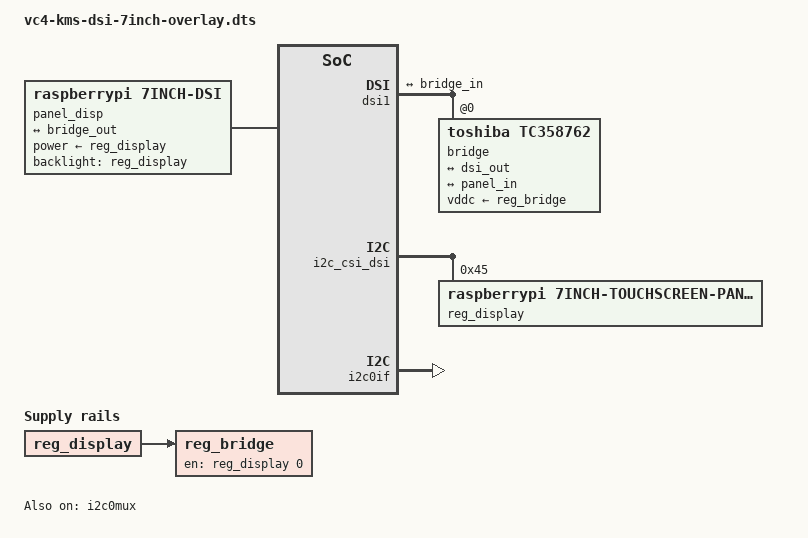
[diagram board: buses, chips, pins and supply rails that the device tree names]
/*
 * Device Tree overlay for RaspberryPi 7" Touchscreen panel
 *
 */

/dts-v1/;
/plugin/;

#include "edt-ft5406.dtsi"

/ {
	/* No compatible as it will have come from edt-ft5406.dtsi */

	dsi_frag: fragment@0 {
		target = <&dsi1>;
		__overlay__ {
			#address-cells = <1>;
			#size-cells = <0>;
			status = "okay";
			port {
				dsi_out: endpoint {
					remote-endpoint = <&bridge_in>;
				};
			};
			bridge@0 {
				reg = <0>;
				compatible = "toshiba,tc358762";
				vddc-supply = <&reg_bridge>;
				ports {
					#address-cells = <1>;
					#size-cells = <0>;

					port@0 {
						reg = <0>;
						bridge_in: endpoint {
							remote-endpoint = <&dsi_out>;
						};
					};

					port@1 {
						reg = <1>;
						bridge_out: endpoint {
							remote-endpoint = <&panel_in>;
						};
					};
				};
			};
		};
	};

	fragment@1 {
		target-path = "/";
		__overlay__ {
			panel_disp: panel_disp@1 {
				reg = <1>;
				compatible = "raspberrypi,7inch-dsi", "simple-panel";
				backlight = <&reg_display>;
				power-supply = <&reg_display>;

				port {
					panel_in: endpoint {
						remote-endpoint = <&bridge_out>;
					};
				};
			};

			reg_bridge: reg_bridge@1 {
				reg = <1>;
				compatible = "regulator-fixed";
				regulator-name = "bridge_reg";
				gpio = <&reg_display 0 0>;
				vin-supply = <&reg_display>;
				enable-active-high;
			};
		};
	};

	i2c_frag: fragment@2 {
		target = <&i2c_csi_dsi>;
		__overlay__ {
			#address-cells = <1>;
			#size-cells = <0>;
			status = "okay";

			reg_display: reg_display@45 {
				compatible = "raspberrypi,7inch-touchscreen-panel-regulator";
				reg = <0x45>;
				gpio-controller;
				#gpio-cells = <2>;
			};
		};
	};

	fragment@3 {
		target = <&i2c0if>;
		__overlay__ {
			status = "okay";
		};
	};

	fragment@4 {
		target = <&i2c0mux>;
		__overlay__ {
			status = "okay";
		};
	};
	fragment@5 {
		target = <&ft5406>;
		__overlay__ {
			vcc-supply = <&reg_display>;
			reset-gpio = <&reg_display 1 1>;
		};
	};

	__overrides__ {
		dsi0 = <&dsi_frag>, "target:0=",<&dsi0>,
		       <&i2c_frag>, "target:0=",<&i2c_csi_dsi0>,
		       <&ts_i2c_frag>, "target:0=",<&i2c_csi_dsi0>,
		       <&panel_disp>, "reg:0=0",
		       <&reg_bridge>, "reg:0=0",
		       <&reg_bridge>, "regulator-name=bridge_reg_0";
		disable_touch = <&ft5406>, "status=disabled";
	};
};
